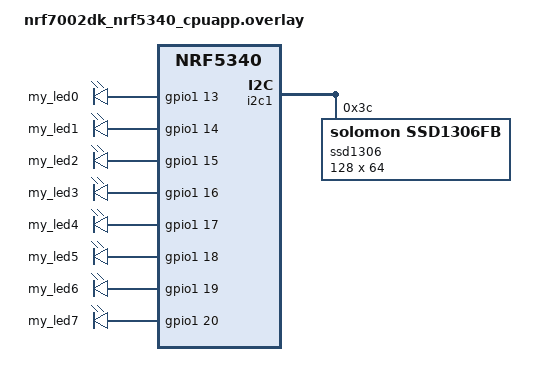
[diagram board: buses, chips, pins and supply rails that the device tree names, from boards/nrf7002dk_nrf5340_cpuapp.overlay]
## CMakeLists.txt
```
cmake_minimum_required(VERSION 3.20.0)

find_package(Zephyr REQUIRED HINTS $ENV{ZEPHYR_BASE})

project(firmware)

target_sources(app PRIVATE
  src/main.c
  src/oled.c
  src/model.c
  src/led.c
  src/people_counter.c
)
```

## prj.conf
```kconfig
CONFIG_PRINTK=y
CONFIG_MAIN_STACK_SIZE=4096

CONFIG_NETWORKING=y
CONFIG_NET_IPV4=y
CONFIG_NET_SOCKETS=y
CONFIG_NET_DHCPV4=y

CONFIG_WIFI=y
CONFIG_WIFI_NM_WPA_SUPPLICANT=y
CONFIG_WIFI_CREDENTIALS=y
CONFIG_SETTINGS=y
CONFIG_FLASH=y
CONFIG_FLASH_MAP=y
CONFIG_NVS=y
CONFIG_SETTINGS_NVS=y
CONFIG_NET_L2_WIFI_MGMT=y

CONFIG_I2C=y
CONFIG_DISPLAY=y
CONFIG_SSD1306=y
CONFIG_GPIO=y

CONFIG_FPU=y
CONFIG_CBPRINTF_FP_SUPPORT=y

CONFIG_LOG=y
CONFIG_LOG_DEFAULT_LEVEL=3
CONFIG_LOG_MODE_IMMEDIATE=y

CONFIG_LOG_MODE_DEFERRED=y
CONFIG_LOG_PROCESS_THREAD_SLEEP_MS=10
```

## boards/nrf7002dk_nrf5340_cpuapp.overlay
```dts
&gpio1 {
    my_leds {
        compatible = "gpio-leds";

        my_led0: led_0 { gpios = <&gpio1 13 GPIO_ACTIVE_HIGH>; };
        my_led1: led_1 { gpios = <&gpio1 14 GPIO_ACTIVE_HIGH>; };
        my_led2: led_2 { gpios = <&gpio1 15 GPIO_ACTIVE_HIGH>; };
        my_led3: led_3 { gpios = <&gpio1 16 GPIO_ACTIVE_HIGH>; };
        my_led4: led_4 { gpios = <&gpio1 17 GPIO_ACTIVE_HIGH>; };
        my_led5: led_5 { gpios = <&gpio1 18 GPIO_ACTIVE_HIGH>; };
        my_led6: led_6 { gpios = <&gpio1 19 GPIO_ACTIVE_HIGH>; };
        my_led7: led_7 { gpios = <&gpio1 20 GPIO_ACTIVE_HIGH>; };
    };
};

&i2c1 {
    status = "okay";

    ssd1306: ssd1306@3c {
        compatible = "solomon,ssd1306fb";
        reg = <0x3c>;
        status = "okay";

        width = <128>;
        height = <64>;

        segment-offset = <0>;
        page-offset = <0>;
        display-offset = <0>;
        multiplex-ratio = <63>;

        segment-remap;
        com-invdir;

        prechargep = <0x22>;
    };
};
```

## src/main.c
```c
#include <zephyr/kernel.h>
#include <zephyr/device.h>
#include <zephyr/drivers/i2c.h>
#include <zephyr/logging/log.h>
#include <stdio.h>

#include "oled.h"
#include "model.h"
#include "led.h"
#include "people_counter.h"

LOG_MODULE_REGISTER(main_app, LOG_LEVEL_INF);

#define I2C_NODE DT_NODELABEL(i2c1)

static const struct device *i2c_dev;

static float features[5];

int main(void)
{
    LOG_INF("System boot");

    i2c_dev = DEVICE_DT_GET(I2C_NODE);

    if (!device_is_ready(i2c_dev)) {
        LOG_ERR("I2C not ready");
        return 0;
    }

    if (oled_init(i2c_dev) != 0) {
        LOG_ERR("OLED init failed");
        return 0;
    } 

    oled_clear();
    oled_write_line(0, "  Autobus B01");
    oled_write_line(1, "  Tempereture: 21");
    oled_write_line(2, "  Humidity: 45");

    led_bar_init();

    if (people_counter_init() != 0) {
        LOG_ERR("  People counter init failed");
        return 0;
    }

    people_counter_start();
    LOG_INF("  People counter started");

    features[0] = 35.0f;
    features[1] = 90.0f;
    features[2] = 0.9f;
    features[3] = 900.0f;
    features[4] = 1030.0f;

    int result = predict(features);
    led_bar_set(result);

    static int last_people = -1;

    while (1) {
        char buf[32];

        int current = people_counter_get();

        if (current != last_people) {
            snprintf(buf, sizeof(buf), "  People: %d", current);
            oled_write_line(3, buf);

            LOG_INF("People changed: %d", current);

            last_people = current;
        }

        k_msleep(1000);
    }
}
```

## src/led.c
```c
#include "led.h"
#include <zephyr/drivers/gpio.h>
#include <zephyr/logging/log.h>

LOG_MODULE_REGISTER(led_bar, LOG_LEVEL_INF);

#define GPIO1_NODE DT_NODELABEL(gpio1)
static const struct device *gpio1 = DEVICE_DT_GET(GPIO1_NODE);


static const uint8_t pins[8] = {8, 9, 10, 11, 12, 13, 14, 15};

void led_bar_set(uint8_t value)
{
    if (value > 8) value = 8;

    for (int i = 0; i < 8; i++) {
        gpio_pin_set(gpio1, pins[i], (i < value) ? 0 : 1);
    }
}

int led_bar_init(void)
{
    if (!device_is_ready(gpio1)) {
        LOG_ERR("GPIO1 not ready!");
        return -1;
    }

    for (int i = 0; i < 8; i++) {
        gpio_pin_configure(gpio1, pins[i], GPIO_OUTPUT);
        gpio_pin_set(gpio1, pins[i], 1); // OFF
    }

    LOG_INF("LED bar initialized (P1.08–P1.15)");
    return 0;
}
```

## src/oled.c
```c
#include "oled.h"
#include <zephyr/kernel.h>

#define oled_ADDR 0x3C

static const struct device *i2c_dev;

static const uint8_t font5x7[][5] = {

    {0x3E,0x51,0x49,0x45,0x3E}, // 0
    {0x00,0x42,0x7F,0x40,0x00}, // 1
    {0x42,0x61,0x51,0x49,0x46}, // 2
    {0x21,0x41,0x45,0x4B,0x31}, // 3
    {0x18,0x14,0x12,0x7F,0x10}, // 4
    {0x27,0x45,0x45,0x45,0x39}, // 5
    {0x3C,0x4A,0x49,0x49,0x30}, // 6
    {0x01,0x71,0x09,0x05,0x03}, // 7
    {0x36,0x49,0x49,0x49,0x36}, // 8
    {0x06,0x49,0x49,0x29,0x1E}, // 9

    {0x7E,0x11,0x11,0x11,0x7E}, // A
    {0x7F,0x49,0x49,0x49,0x36}, // B
    {0x3E,0x41,0x41,0x41,0x22}, // C
    {0x7F,0x41,0x41,0x22,0x1C}, // D
    {0x7F,0x49,0x49,0x49,0x41}, // E
    {0x7F,0x09,0x09,0x09,0x01}, // F
    {0x3E,0x41,0x49,0x49,0x7A}, // G
    {0x7F,0x08,0x08,0x08,0x7F}, // H
    {0x00,0x41,0x7F,0x41,0x00}, // I
    {0x20,0x40,0x41,0x3F,0x01}, // J
    {0x7F,0x08,0x14,0x22,0x41}, // K
    {0x7F,0x40,0x40,0x40,0x40}, // L
    {0x7F,0x02,0x0C,0x02,0x7F}, // M
    {0x7F,0x04,0x08,0x10,0x7F}, // N
    {0x3E,0x41,0x41,0x41,0x3E}, // O
    {0x7F,0x09,0x09,0x09,0x06}, // P
    {0x3E,0x41,0x51,0x21,0x5E}, // Q
    {0x7F,0x09,0x19,0x29,0x46}, // R
    {0x46,0x49,0x49,0x49,0x31}, // S
    {0x01,0x01,0x7F,0x01,0x01}, // T
    {0x3F,0x40,0x40,0x40,0x3F}, // U
    {0x1F,0x20,0x40,0x20,0x1F}, // V
    {0x3F,0x40,0x38,0x40,0x3F}, // W
    {0x63,0x14,0x08,0x14,0x63}, // X
    {0x07,0x08,0x70,0x08,0x07}, // Y
    {0x61,0x51,0x49,0x45,0x43}, // Z

    {0x00,0x00,0x00,0x00,0x00}, // space
    {0x08, 0x08, 0x08, 0x08, 0x08} // -
};

static const uint8_t* get_char(char c)
{
    if (c >= '0' && c <= '9')
        return font5x7[c - '0'];

    if (c >= 'A' && c <= 'Z')
        return font5x7[10 + (c - 'A')];

    if (c >= 'a' && c <= 'z')
        return font5x7[10 + (c - 'a')];

    if (c == '-') return font5x7[37]; 

    return font5x7[36];
}

static int cmd(uint8_t c)
{
    uint8_t b[2] = {0x00, c};
    return i2c_write(i2c_dev, b, 2, oled_ADDR);
}

static int data(uint8_t *d, size_t len)
{
    uint8_t buf[129];
    buf[0] = 0x40;

    for (size_t i = 0; i < len; i++)
        buf[i + 1] = d[i];

    return i2c_write(i2c_dev, buf, len + 1, oled_ADDR);
}

static void oled_hw_init(void)
{
    k_msleep(100);

    cmd(0xAE);
    cmd(0x20); cmd(0x00);
    cmd(0xB0);
    cmd(0xC8);
    cmd(0x81); cmd(0x7F);
    cmd(0xA1);
    cmd(0xA6);
    cmd(0xA8); cmd(0x3F);
    cmd(0xD5); cmd(0x80);
    cmd(0xD9); cmd(0xF1);
    cmd(0xDA); cmd(0x12);
    cmd(0xDB); cmd(0x40);
    cmd(0x8D); cmd(0x14);
    cmd(0xAF);
}

static void set_pos(uint8_t page, uint8_t col)
{
    cmd(0xB0 + page);
    cmd(0x00 + (col & 0x0F));
    cmd(0x10 + (col >> 4));
}

static void draw_text_line(uint8_t page, const char *s)
{
    uint8_t buf[128] = {0};
    int x = 0;

    while (*s && x < 120) {
        const uint8_t *ch = get_char(*s);

        for (int i = 0; i < 5; i++)
            buf[x++] = ch[i];

        buf[x++] = 0x00;
        s++;
    }

    set_pos(page, 0);
    data(buf, 128);
}


int oled_init(const struct device *dev)
{
    i2c_dev = dev;

    if (!device_is_ready(i2c_dev))
        return -1;

    oled_hw_init();
    return 0;
}

void oled_clear(void)
{
    uint8_t blank[128] = {0};

    for (int page = 0; page < 8; page++) {
        set_pos(page, 0);
        data(blank, 128);
    }
}

void oled_write_line(uint8_t page, const char *text)
{
    draw_text_line(page, text);
}

void oled_write(const char *text)
{
    draw_text_line(0, text);
}
```

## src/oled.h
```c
#ifndef oled_DISPLAY_H
#define oled_DISPLAY_H

#include <zephyr/device.h>
#include <zephyr/drivers/i2c.h>
#include <stddef.h>
#include <stdint.h>

#ifdef __cplusplus
extern "C" {
#endif

/* Initialize display driver (must be called once) */
int oled_init(const struct device *i2c_dev);

/* Clear full screen */
void oled_clear(void);

/* Write single line (page = 0–7) */
void oled_write_line(uint8_t page, const char *text);

/* Write on first page only */
void oled_write(const char *text);

#ifdef __cplusplus
}
#endif

#endif /* oled_DISPLAY_H */
```

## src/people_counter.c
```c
#include "people_counter.h"

#include <zephyr/kernel.h>
#include <zephyr/drivers/gpio.h>
#include <zephyr/logging/log.h>

LOG_MODULE_REGISTER(people_counter, LOG_LEVEL_DBG);

/* ====== CONFIG ====== */
#define WALL_DISTANCE_CM 150.0
#define TRIGGER_MARGIN   40.0
#define COOLDOWN_MS      800
#define SAMPLE_PERIOD_MS 500

/* ====== GPIO ====== */
static const struct gpio_dt_spec trig =
    GPIO_DT_SPEC_GET(DT_NODELABEL(trig_pin), gpios);

static const struct gpio_dt_spec echo =
    GPIO_DT_SPEC_GET(DT_NODELABEL(echo_pin), gpios);

/* ====== STATE ====== */
static int people_count = 0;
static bool object_present = false;

/* ====== INTERNAL ====== */
static double measure_once(void)
{
    uint32_t start_time, stop_time, cycles_spent;
    uint32_t timeout_cnt;

    gpio_pin_set_dt(&trig, 1);
    k_busy_wait(10);
    gpio_pin_set_dt(&trig, 0);

    LOG_DBG("Trigger sent");

    unsigned int key = irq_lock();

    timeout_cnt = 0;
    while (gpio_pin_get_dt(&echo) == 0) {
        if (++timeout_cnt > 100000) {
            irq_unlock(key);
            LOG_WRN("Echo HIGH timeout (no signal)");
            return -1.0;
        }
    }

    start_time = k_cycle_get_32();
    LOG_DBG("Echo went HIGH");

    timeout_cnt = 0;
    while (gpio_pin_get_dt(&echo) == 1) {
        if (++timeout_cnt > 100000) {
            irq_unlock(key);
            LOG_WRN("Echo LOW timeout (stuck HIGH)");
            return -1.0;
        }
    }

    stop_time = k_cycle_get_32();
    irq_unlock(key);

    cycles_spent = stop_time - start_time;
    uint32_t duration_us = k_cyc_to_us_near32(cycles_spent);

    double dist = (duration_us * 0.0343) / 2.0;

    LOG_DBG("Duration: %u us -> Dist: %.2f cm", duration_us, dist);

    return dist;
}

/* ====== THREAD ====== */
static void people_thread(void)
{
    LOG_INF("People counter thread started");

    while (1) {

        double sum = 0;
        int valid = 0;

        for (int i = 0; i < 3; i++) {
            double d = measure_once();

            LOG_DBG("Sample %d = %.2f cm", i, d);

            if (d > 2.0 && d < 400.0) {
                sum += d;
                valid++;
            } else {
                LOG_WRN("Invalid sample: %.2f", d);
            }

            k_busy_wait(500);
        }

        if (valid > 0) {
            double current_dist = sum / valid;

            LOG_INF("Avg distance: %.2f cm", current_dist);

            if (current_dist < (WALL_DISTANCE_CM - TRIGGER_MARGIN)) {

                if (!object_present) {
                    people_count++;
                    object_present = true;

                    LOG_INF("PERSON DETECTED -> total = %d", people_count);

                    k_msleep(COOLDOWN_MS);
                } else {
                    LOG_DBG("Object still present (not counting)");
                }

            } else {
                object_present = false;
                LOG_DBG("No object detected");
            }

        } else {
            LOG_WRN("No valid samples in cycle");
        }

        k_msleep(SAMPLE_PERIOD_MS);
    }
}

/* ====== API ====== */

int people_counter_init(void)
{
    if (!gpio_is_ready_dt(&trig) || !gpio_is_ready_dt(&echo)) {
        LOG_ERR("GPIO not ready");
        return -1;
    }

    gpio_pin_configure_dt(&trig, GPIO_OUTPUT_INACTIVE);
    gpio_pin_configure_dt(&echo, GPIO_INPUT);

    LOG_INF("People counter init OK");

    return 0;
}

void people_counter_start(void)
{
    static K_THREAD_STACK_DEFINE(stack, 2048);
    static struct k_thread thread_data;

    LOG_INF("Starting people counter thread");

    k_thread_create(&thread_data, stack, K_THREAD_STACK_SIZEOF(stack),
                    (k_thread_entry_t)people_thread,
                    NULL, NULL, NULL,
                    5, 0, K_NO_WAIT);
}

int people_counter_get(void)
{
    return people_count;
}

void people_counter_reset(void)
{
    people_count = 0;
    LOG_INF("Counter reset");
}
```

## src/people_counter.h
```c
#ifndef PEOPLE_COUNTER_H
#define PEOPLE_COUNTER_H

#include <stdbool.h>
#include <stdint.h>

#ifdef __cplusplus
extern "C" {
#endif

int people_counter_init(void);

void people_counter_start(void);

int people_counter_get(void);

void people_counter_reset(void);

#ifdef __cplusplus
}
#endif

#endif
```
